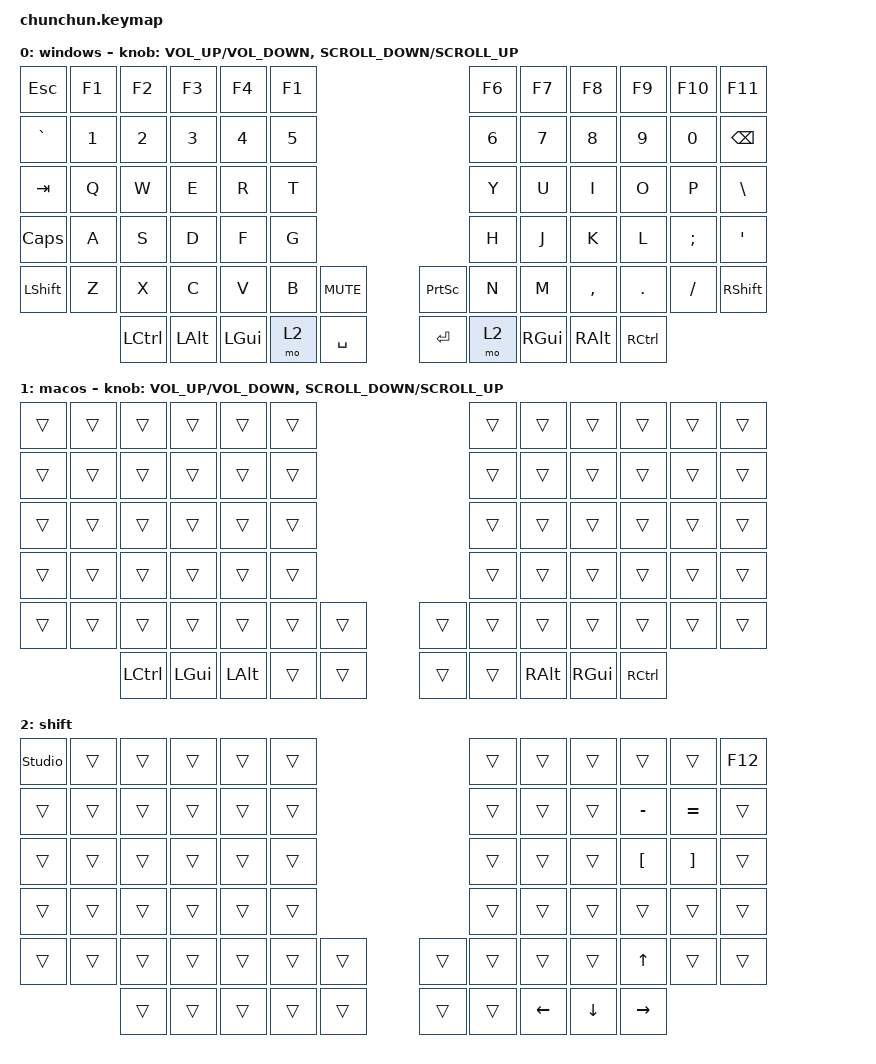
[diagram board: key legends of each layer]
#include <behaviors.dtsi>
#include <dt-bindings/zmk/keys.h>

/ {
    keymap {
        compatible = "zmk,keymap";

        windows {
            bindings = <
&kp ESC    &kp F1     &kp F2    &kp F3    &kp F4  &kp F1                                 &kp F6     &kp F7  &kp F8     &kp F9    &kp F10    &kp F11
&kp GRAVE  &kp N1     &kp N2    &kp N3    &kp N4  &kp N5                                  &kp N6     &kp N7  &kp N8     &kp N9    &kp N0     &kp BSPC
&kp TAB    &kp Q      &kp W     &kp E     &kp R   &kp T                                   &kp Y      &kp U   &kp I      &kp O     &kp P      &kp BSLH
&kp CAPS   &kp A      &kp S     &kp D     &kp F   &kp G                                   &kp H      &kp J   &kp K      &kp L     &kp SEMI   &kp APOS
&kp LSHFT  &kp Z      &kp X     &kp C     &kp V   &kp B      &kp K_MUTE  &kp PRINTSCREEN  &kp N      &kp M   &kp COMMA  &kp DOT   &kp FSLH   &kp RSHFT
           &kp LCTRL  &kp LALT  &kp LGUI  &mo 2   &kp SPACE                               &kp ENTER  &mo 2   &kp RGUI   &kp RALT  &kp RCTRL
            >;

            sensor-bindings =
                <&inc_dec_kp C_VOLUME_UP C_VOLUME_DOWN>,
                <&inc_dec_kp K_SCROLL_DOWN K_SCROLL_UP>;
        };

        macos {
            bindings = <
&trans  &trans     &trans    &trans    &trans  &trans                  &trans  &trans  &trans    &trans    &trans     &trans
&trans  &trans     &trans    &trans    &trans  &trans                  &trans  &trans  &trans    &trans    &trans     &trans
&trans  &trans     &trans    &trans    &trans  &trans                  &trans  &trans  &trans    &trans    &trans     &trans
&trans  &trans     &trans    &trans    &trans  &trans                  &trans  &trans  &trans    &trans    &trans     &trans
&trans  &trans     &trans    &trans    &trans  &trans  &trans  &trans  &trans  &trans  &trans    &trans    &trans     &trans
        &kp LCTRL  &kp LGUI  &kp LALT  &trans  &trans                  &trans  &trans  &kp RALT  &kp RGUI  &kp RCTRL
            >;

            sensor-bindings =
                <&inc_dec_kp C_VOLUME_UP C_VOLUME_DOWN>,
                <&inc_dec_kp K_SCROLL_DOWN K_SCROLL_UP>;
        };

        shift {
            bindings = <
&studio_unlock  &trans  &trans  &trans  &trans  &trans                  &trans  &trans  &trans    &trans     &trans     &kp F12
&trans          &trans  &trans  &trans  &trans  &trans                  &trans  &trans  &trans    &kp MINUS  &kp EQUAL  &trans
&trans          &trans  &trans  &trans  &trans  &trans                  &trans  &trans  &trans    &kp LBKT   &kp RBKT   &trans
&trans          &trans  &trans  &trans  &trans  &trans                  &trans  &trans  &trans    &trans     &trans     &trans
&trans          &trans  &trans  &trans  &trans  &trans  &trans  &trans  &trans  &trans  &trans    &kp UP     &trans     &trans
                &trans  &trans  &trans  &trans  &trans                  &trans  &trans  &kp LEFT  &kp DOWN   &kp RIGHT
            >;
        };
    };
};
